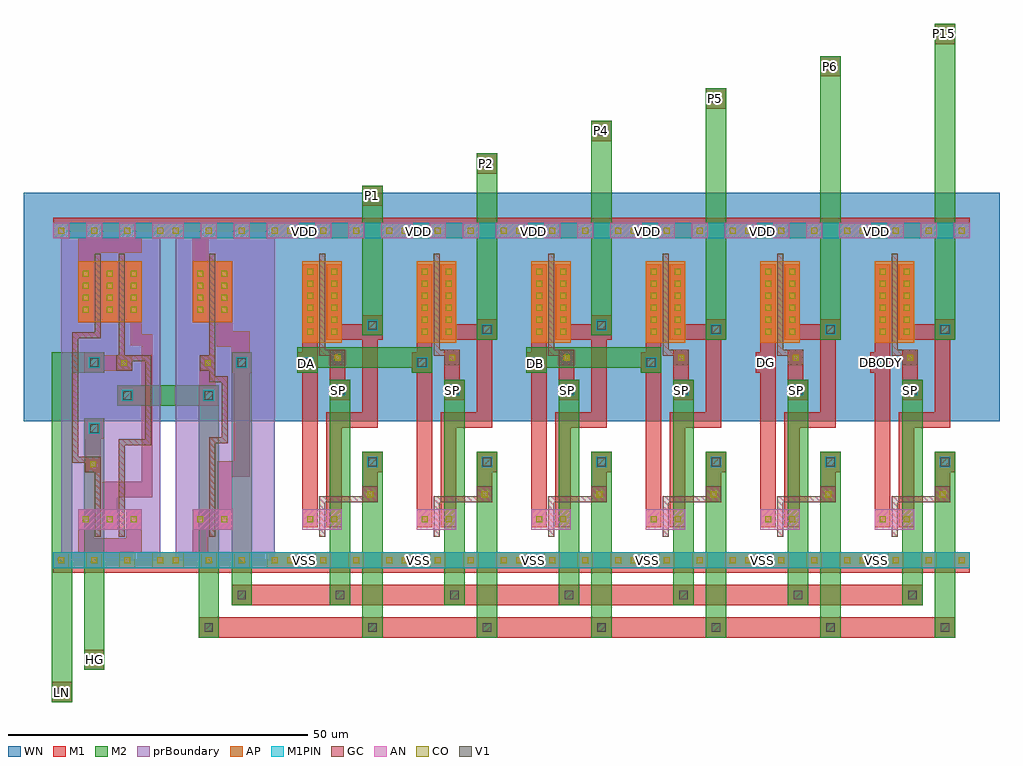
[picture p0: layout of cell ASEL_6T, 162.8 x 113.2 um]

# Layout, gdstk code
import gdstk
lib = gdstk.Library(unit=1e-6, precision=1e-07)
def R(c, l, rs):  # rectangles x0, y0, x1, y1
    for r in rs: c.add(gdstk.rectangle(r[:2], r[2:], *l))
def A(c, l, x, y, w, h, nx, ny, dx, dy):  # array of equal rectangles
    R(c, l, [(x+i*dx, y+j*dy, x+i*dx+w, y+j*dy+h) for i in range(nx) for j in range(ny)])
def P(c, l, *ps):  # polygons
    for p in ps: c.add(gdstk.Polygon(p, *l))
AP = (3, 1)
AN = (3, 2)
GC = (8, 1)
CO = (11, 0)
M1 = (13, 0)
V1 = (19, 0)
M2 = (20, 0)
M1PIN = (48, 1)
WN = (140, 0)
prBoundary = (235, 0)

asel_6t = lib.new_cell('ASEL_6T')
A(asel_6t, AP, -14.1, 10.8, 2.6, 2.6, 4, 1, 5.5, 0)
A(asel_6t, AP, 5, 10.8, 2.6, 2.6, 4, 1, 5.5, 0)
A(asel_6t, AP, 24.1, 10.8, 2.6, 2.6, 4, 1, 5.5, 0)
A(asel_6t, AP, 43.2, 10.8, 2.6, 2.6, 4, 1, 5.5, 0)
A(asel_6t, AP, 62.3, 10.8, 2.6, 2.6, 4, 1, 5.5, 0)
A(asel_6t, AP, 81.4, 10.8, 2.6, 2.6, 4, 1, 5.5, 0)
A(asel_6t, AP, 100.5, 10.8, 2.6, 2.6, 4, 1, 5.5, 0)
A(asel_6t, AP, 119.6, 10.8, 2.6, 2.6, 4, 1, 5.5, 0)
A(asel_6t, AP, 27.4, 48.4, 6.6, 13.6, 6, 1, 19.1, 0)
R(asel_6t, AP, [(-10,51.8,0.6,62), (-10,51.8,0.6,62), (9.1,51.8,15.7,62), (9.1,51.8,15.7,62)])
A(asel_6t, AN, 27.4, 17.2, 6.6, 3.4, 6, 1, 19.1, 0)
A(asel_6t, AN, -14.1, 65.8, 2.6, 2.6, 4, 1, 5.5, 0)
A(asel_6t, AN, 5, 65.8, 2.6, 2.6, 4, 1, 5.5, 0)
A(asel_6t, AN, 24.1, 65.8, 2.6, 2.6, 4, 1, 5.5, 0)
A(asel_6t, AN, 43.2, 65.8, 2.6, 2.6, 4, 1, 5.5, 0)
A(asel_6t, AN, 62.3, 65.8, 2.6, 2.6, 4, 1, 5.5, 0)
A(asel_6t, AN, 81.4, 65.8, 2.6, 2.6, 4, 1, 5.5, 0)
A(asel_6t, AN, 100.5, 65.8, 2.6, 2.6, 4, 1, 5.5, 0)
A(asel_6t, AN, 119.6, 65.8, 2.6, 2.6, 4, 1, 5.5, 0)
R(asel_6t, AN, [(-10,17.2,0.6,20.6), (9.1,17.2,15.7,20.6)])
A(asel_6t, GC, 30.2, 21.8, 7.2, 1, 6, 1, 19.1, 0)
A(asel_6t, GC, 37.4, 21.8, 2.6, 2.6, 6, 1, 19.1, 0)
A(asel_6t, GC, 32, 44.6, 2.6, 2.6, 6, 1, 19.1, 0)
A(asel_6t, GC, 30.2, 46.2, 1.8, 1, 6, 1, 19.1, 0)
P(asel_6t, GC, [(-7.2,16),(-7.2,26.8),(-8.8,26.8),(-8.8,28.4),(-11,28.4),(-11,50.1),(-7.2,50.1),(-7.2,63.2),(-6.2,63.2),(-6.2,49.1),(-10,49.1),(-10,29.4),(-6.2,29.4),(-6.2,16)],
  [(-3.2,16),(-3.2,32.3),(1.2,32.3),(1.2,45.3),(-1,45.3),(-1,43.7),(-3.6,43.7),(-3.6,46.3),(-3.2,46.3),(-3.2,63.2),(-2.2,63.2),(-2.2,46.3),(2.2,46.3),(2.2,31.3),(-2.2,31.3),(-2.2,16)],
  [(11.9,16),(11.9,32.6),(14,32.6),(14,41.8),(11.9,41.8),(11.9,43.7),(10.3,43.7),(10.3,46.3),(11.9,46.3),(11.9,63.2),(12.9,63.2),(12.9,42.8),(15,42.8),(15,31.6),(12.9,31.6),(12.9,16)])
A(asel_6t, CO, -13.3, 11.6, 1, 1, 4, 2, 5.5, 55)
A(asel_6t, CO, 5.8, 11.6, 1, 1, 4, 2, 5.5, 55)
A(asel_6t, CO, 24.9, 11.6, 1, 1, 4, 2, 5.5, 55)
A(asel_6t, CO, 44, 11.6, 1, 1, 4, 2, 5.5, 55)
A(asel_6t, CO, 63.1, 11.6, 1, 1, 4, 2, 5.5, 55)
A(asel_6t, CO, 82.2, 11.6, 1, 1, 4, 2, 5.5, 55)
A(asel_6t, CO, 101.3, 11.6, 1, 1, 4, 1, 5.5, 0)
A(asel_6t, CO, 120.4, 11.6, 1, 1, 4, 2, 5.5, 55)
A(asel_6t, CO, 38.2, 22.6, 1, 1, 6, 1, 19.1, 0)
A(asel_6t, CO, 32.8, 45.4, 1, 1, 6, 1, 19.1, 0)
A(asel_6t, CO, 28.2, 49.7, 1, 1, 1, 6, 0, 2)
A(asel_6t, CO, 32.2, 49.7, 1, 1, 1, 6, 0, 2)
A(asel_6t, CO, 47.3, 49.7, 1, 1, 1, 6, 0, 2)
A(asel_6t, CO, 51.3, 49.7, 1, 1, 1, 6, 0, 2)
A(asel_6t, CO, 66.4, 49.7, 1, 1, 1, 6, 0, 2)
A(asel_6t, CO, 70.4, 49.7, 1, 1, 1, 6, 0, 2)
A(asel_6t, CO, 85.5, 49.7, 1, 1, 1, 6, 0, 2)
A(asel_6t, CO, 89.5, 49.7, 1, 1, 1, 6, 0, 2)
A(asel_6t, CO, 104.6, 49.7, 1, 1, 1, 6, 0, 2)
A(asel_6t, CO, 108.6, 49.7, 1, 1, 1, 6, 0, 2)
A(asel_6t, CO, 123.7, 49.7, 1, 1, 1, 6, 0, 2)
A(asel_6t, CO, 127.7, 49.7, 1, 1, 1, 6, 0, 2)
A(asel_6t, CO, -1.2, 53.4, 1, 1, 1, 4, 0, 2)
A(asel_6t, CO, 9.9, 53.4, 1, 1, 1, 4, 0, 2)
A(asel_6t, CO, 13.9, 53.4, 1, 1, 1, 4, 0, 2)
A(asel_6t, CO, 101.3, 66.6, 1, 1, 3, 1, 5.5, 0)
R(asel_6t, CO, [(-9.2,18.4,-8.2,19.4), (-5.2,18.4,-4.2,19.4), (-5.2,18.4,-4.2,19.4), (-1.2,18.4,-0.2,19.4), (9.9,18.4,10.9,19.4), (13.9,18.4,14.9,19.4), (28.2,18.4,29.2,19.4), (32.2,18.4,33.2,19.4), (47.3,18.4,48.3,19.4), (51.3,18.4,52.3,19.4), (66.4,18.4,67.4,19.4), (70.4,18.4,71.4,19.4), (85.5,18.4,86.5,19.4), (89.5,18.4,90.5,19.4), (104.6,18.4,105.6,19.4), (108.6,18.4,109.6,19.4), (123.7,18.4,124.7,19.4), (127.7,18.4,128.7,19.4), (-8,27.6,-7,28.6), (-2.8,44.5,-1.8,45.5), (11.1,44.5,12.1,45.5), (-9.2,53.4,-8.2,54.4), (-9.2,53.4,-8.2,54.4), (-9.2,53.4,-8.2,54.4), (-5.2,53.4,-4.2,54.4), (-5.2,53.4,-4.2,54.4), (-5.2,53.4,-4.2,54.4), (-5.2,53.4,-4.2,54.4), (-9.2,55.4,-8.2,56.4), (-9.2,55.4,-8.2,56.4), (-9.2,55.4,-8.2,56.4), (-5.2,55.4,-4.2,56.4), (-5.2,55.4,-4.2,56.4), (-5.2,55.4,-4.2,56.4), (-5.2,55.4,-4.2,56.4), (-9.2,57.4,-8.2,58.4), (-9.2,57.4,-8.2,58.4), (-9.2,57.4,-8.2,58.4), (-5.2,57.4,-4.2,58.4), (-5.2,57.4,-4.2,58.4), (-5.2,57.4,-4.2,58.4), (-5.2,57.4,-4.2,58.4), (-9.2,59.4,-8.2,60.4), (-9.2,59.4,-8.2,60.4), (-9.2,59.4,-8.2,60.4), (-5.2,59.4,-4.2,60.4), (-5.2,59.4,-4.2,60.4), (-5.2,59.4,-4.2,60.4), (-5.2,59.4,-4.2,60.4), (112.3,66.6,113.3,67.6), (117.8,66.6,118.8,67.6), (117.8,66.6,118.8,67.6)])
A(asel_6t, M1, 37.4, -0.8, 3.4, 3.4, 6, 2, 19.1, 27.6)
A(asel_6t, M1, 40.8, -0.8, 15.7, 3.4, 5, 1, 19.1, 0)
A(asel_6t, M1, 32, 4.6, 3.4, 3.4, 6, 2, 19.1, 34.2)
A(asel_6t, M1, 35.4, 4.6, 15.7, 3.4, 5, 1, 19.1, 0)
A(asel_6t, M1, 24.1, 10.8, 19.1, 2.6, 6, 2, 19.1, 55)
A(asel_6t, M1, 27.4, 20.2, 2.6, 23.2, 6, 1, 19.1, 0)
A(asel_6t, M1, 31.4, 20.2, 2.6, 14, 6, 1, 19.1, 0)
A(asel_6t, M1, 37.4, 21.8, 2.6, 5, 6, 1, 19.1, 0)
A(asel_6t, M1, 31.4, 34.2, 6, 2.6, 6, 1, 19.1, 0)
A(asel_6t, M1, 37.4, 34.2, 2.6, 14.7, 6, 1, 19.1, 0)
A(asel_6t, M1, 32, 42.2, 2.6, 5, 6, 1, 19.1, 0)
A(asel_6t, M1, 26.6, 43.4, 3.4, 3.4, 6, 1, 19.1, 0)
A(asel_6t, M1, 27.4, 46.8, 2.6, 2.1, 6, 1, 19.1, 0)
A(asel_6t, M1, 34, 48.9, 3.4, 2.6, 6, 1, 19.1, 0)
R(asel_6t, M1, [(-14.4,-11.6,-11,-8.2), (-9,-6.2,-5.6,-2.8), (10.1,-0.8,13.5,2.6), (13.5,-0.8,37.4,2.6), (15.6,4.6,19,8), (19,4.6,32,8), (-14.1,10,138.7,10.8), (27.4,17.6,30,20.2), (31.4,17.6,34,20.2), (46.5,17.6,49.1,20.2), (50.5,17.6,53.1,20.2), (65.6,17.6,68.2,20.2), (69.6,17.6,72.2,20.2), (84.7,17.6,87.3,20.2), (88.7,17.6,91.3,20.2), (103.8,17.6,106.4,20.2), (107.8,17.6,110.4,20.2), (122.9,17.6,125.5,20.2), (126.9,17.6,129.5,20.2), (27.4,48.9,30,61.5), (31.4,48.9,34,61.5), (37.4,48.9,40.8,53), (46.5,48.9,49.1,61.5), (50.5,48.9,53.1,61.5), (56.5,48.9,59.9,52.3), (65.6,48.9,68.2,61.5), (69.6,48.9,72.2,61.5), (75.6,48.9,79,53), (84.7,48.9,87.3,61.5), (88.7,48.9,91.3,61.5), (94.7,48.9,98.1,52.3), (103.8,48.9,106.4,61.5), (107.8,48.9,110.4,61.5), (113.8,48.9,117.2,52.3), (113.8,48.9,117.2,52.3), (122.9,48.9,125.5,61.5), (126.9,48.9,129.5,61.5), (132.9,48.9,136.3,52.3), (-6,51.8,-3.4,62), (-14.1,68.4,138.7,69.2), (37.4,71.2,40.8,74.6), (56.5,76.6,59.9,80), (75.6,82,79,85.4), (94.7,87.4,98.1,90.8), (113.8,92.8,117.2,96.2), (132.9,98.2,136.3,101.6)])
P(asel_6t, M1, [(-14.1,10.8),(-14.1,13.4),(-10,13.4),(-10,20.6),(-7.4,20.6),(-7.4,15.8),(-2,15.8),(-2,20.6),(0.6,20.6),(0.6,13.4),(5,13.4),(5,10.8)],
  [(-8.8,26.8),(-8.8,32.4),(-9,32.4),(-9,35.8),(-5.6,35.8),(-5.6,32.4),(-6.2,32.4),(-6.2,26.8)],
  [(-9,43.4),(-9,46.8),(-5.6,46.8),(-5.6,46.3),(-1,46.3),(-1,43.7),(-5.6,43.7),(-5.6,43.4)],
  [(-6,17.2),(-6,25.2),(0.6,25.2),(0.6,37.9),(-3.5,37.9),(-3.5,41.3),(0.6,41.3),(0.6,48),(-1.2,48),(-1.2,51.8),(-2,51.8),(-2,62),(0.6,62),(0.6,49.8),(2.4,49.8),(2.4,22.6),(-3.4,22.6),(-3.4,17.2)],
  [(-10,51.8),(-10,65.8),(-14.1,65.8),(-14.1,68.4),(5,68.4),(5,65.8),(0.6,65.8),(0.6,63.4),(-7.4,63.4),(-7.4,51.8)],
  [(5,10.8),(5,13.4),(9.1,13.4),(9.1,20.6),(11.7,20.6),(11.7,13.4),(24.1,13.4),(24.1,10.8)],
  [(10.1,37.9),(10.1,41.3),(10.3,41.3),(10.3,46.3),(12.9,46.3),(12.9,41.3),(13.5,41.3),(13.5,37.9)],
  [(13.1,17.2),(13.1,28.6),(16,28.6),(16,43.4),(15.6,43.4),(15.6,47.7),(13.1,47.7),(13.1,62),(15.7,62),(15.7,50.3),(18.6,50.3),(18.6,46.8),(19,46.8),(19,43.4),(18.6,43.4),(18.6,26),(15.7,26),(15.7,17.2)],
  [(9.1,51.8),(9.1,65.8),(5,65.8),(5,68.4),(24.1,68.4),(24.1,65.8),(11.7,65.8),(11.7,51.8)])
A(asel_6t, V1, 38.4, 0.2, 1.4, 1.4, 6, 2, 19.1, 27.6)
A(asel_6t, V1, 33, 5.6, 1.4, 1.4, 6, 2, 19.1, 34.2)
A(asel_6t, V1, 27.6, 44.4, 1.4, 1.4, 4, 1, 19.1, 0)
A(asel_6t, V1, 95.7, 49.9, 1.4, 1.4, 3, 1, 19.1, 0)
R(asel_6t, V1, [(-13.4,-10.6,-12,-9.2), (-8,-5.2,-6.6,-3.8), (11.1,0.2,12.5,1.6), (16.6,5.6,18,7), (-8,33.4,-6.6,34.8), (-2.5,38.9,-1.1,40.3), (11.1,38.9,12.5,40.3), (-8,44.4,-6.6,45.8), (16.6,44.4,18,45.8), (57.5,49.9,58.9,51.3), (38.4,50.6,39.8,52), (76.6,50.6,78,52), (38.4,72.2,39.8,73.6), (57.5,77.6,58.9,79), (76.6,83,78,84.4), (95.7,88.4,97.1,89.8), (114.8,93.8,116.2,95.2), (133.9,99.2,135.3,100.6)])
A(asel_6t, M2, 37.4, -0.8, 3.4, 3.4, 6, 1, 19.1, 0)
A(asel_6t, M2, 37.4, 2.6, 3.4, 27.6, 6, 1, 19.1, 0)
A(asel_6t, M2, 32, 4.6, 3.4, 3.4, 6, 1, 19.1, 0)
A(asel_6t, M2, 32, 8, 3.4, 34.2, 6, 1, 19.1, 0)
A(asel_6t, M2, 26.6, 43.4, 3.4, 0.8, 4, 1, 19.1, 0)
R(asel_6t, M2, [(-14.4,-11.6,-11,-8.2), (-14.4,-8.2,-11,46.8), (-9,-6.2,-5.6,-2.8), (-9,-2.8,-5.6,35.8), (10.1,-0.8,13.5,2.6), (10.1,2.6,13.5,41.3), (15.6,4.6,19,8), (15.6,8,19,46.8), (-3.5,37.9,10.1,41.3), (-11,43.4,-5.6,46.8), (26.6,44.2,49.1,47.6), (64.8,44.2,87.3,47.6), (56.5,48.9,59.9,76.6), (94.7,48.9,98.1,87.4), (113.8,48.9,117.2,92.8), (132.9,48.9,136.3,98.2), (37.4,49.6,40.8,71.2), (75.6,49.6,79,82), (37.4,71.2,40.8,74.6), (56.5,76.6,59.9,80), (75.6,82,79,85.4), (94.7,87.4,98.1,90.8), (113.8,92.8,117.2,96.2), (132.9,98.2,136.3,101.6)])
A(asel_6t, M1PIN, -14.1, 10.8, 19.1, 2.6, 8, 2, 19.1, 55)
A(asel_6t, M1PIN, 38.2, 27.6, 1.8, 1.8, 6, 1, 19.1, 0)
A(asel_6t, M1PIN, 32.8, 39.6, 1.8, 1.8, 6, 1, 19.1, 0)
A(asel_6t, M1PIN, 27.4, 44.2, 1.8, 1.8, 6, 1, 19.1, 0)
R(asel_6t, M1PIN, [(-8.2,33.2,-6.4,35), (-2.7,38.7,-0.9,40.5), (10.9,38.7,12.7,40.5), (-8.2,44.2,-6.4,46), (16.4,44.2,18.2,46), (57.3,49.7,59.1,51.5), (95.5,49.7,97.3,51.5), (114.6,49.7,116.4,51.5), (114.6,49.7,116.4,51.5), (133.7,49.7,135.5,51.5), (133.7,49.7,135.5,51.5), (133.7,49.7,135.5,51.5), (38.2,50.4,40,52.2), (76.4,50.4,78.2,52.2)])
A(asel_6t, WN, -19.1, 35.3, 29.1, 38.1, 8, 1, 19.1, 0)
R(asel_6t, prBoundary, [(-12.8,12.1,3.7,67.1), (6.3,12.1,22.8,67.1)])
asel_6t.add(gdstk.FlexPath([(107.1,16),(107.1,21.8)], 1, ends="flush", simple_path=True, layer=8, datatype=1))  # GC
asel_6t.add(gdstk.FlexPath([(107.1,47.2),(107.1,63.2)], 1, ends="flush", simple_path=True, layer=8, datatype=1))  # GC
asel_6t.add(gdstk.FlexPath([(126.2,16),(126.2,21.8)], 1, ends="flush", simple_path=True, layer=8, datatype=1))  # GC
asel_6t.add(gdstk.FlexPath([(126.2,47.2),(126.2,63.2)], 1, ends="flush", simple_path=True, layer=8, datatype=1))  # GC
asel_6t.add(gdstk.FlexPath([(30.7,16),(30.7,21.8)], 1, ends="flush", simple_path=True, layer=8, datatype=1))  # GC
asel_6t.add(gdstk.FlexPath([(30.7,47.2),(30.7,63.2)], 1, ends="flush", simple_path=True, layer=8, datatype=1))  # GC
asel_6t.add(gdstk.FlexPath([(49.8,16),(49.8,21.8)], 1, ends="flush", simple_path=True, layer=8, datatype=1))  # GC
asel_6t.add(gdstk.FlexPath([(49.8,47.2),(49.8,63.2)], 1, ends="flush", simple_path=True, layer=8, datatype=1))  # GC
asel_6t.add(gdstk.FlexPath([(68.9,16),(68.9,21.8)], 1, ends="flush", simple_path=True, layer=8, datatype=1))  # GC
asel_6t.add(gdstk.FlexPath([(68.9,47.2),(68.9,63.2)], 1, ends="flush", simple_path=True, layer=8, datatype=1))  # GC
asel_6t.add(gdstk.FlexPath([(88,16),(88,21.8)], 1, ends="flush", simple_path=True, layer=8, datatype=1))  # GC
asel_6t.add(gdstk.FlexPath([(88,47.2),(88,63.2)], 1, ends="flush", simple_path=True, layer=8, datatype=1))  # GC
asel_6t.add(gdstk.Label('P6', (115.5,94.5), layer=48, texttype=0))
asel_6t.add(gdstk.Label('P15', (134.6,99.9), layer=48, texttype=0))
asel_6t.add(gdstk.Label('P1', (39.1,72.9), layer=48, texttype=0))
asel_6t.add(gdstk.Label('P2', (58.2,78.3), layer=48, texttype=0))
asel_6t.add(gdstk.Label('P4', (77.3,83.7), layer=48, texttype=0))
asel_6t.add(gdstk.Label('P5', (96.4,89.1), layer=48, texttype=0))
asel_6t.add(gdstk.Label('HG', (-7.3,-4.5), layer=48, texttype=0))
asel_6t.add(gdstk.Label('LN', (-12.7,-9.9), layer=48, texttype=0))
asel_6t.add(gdstk.Label('DA', (28.1,45), layer=48, texttype=0))
asel_6t.add(gdstk.Label('DG', (104.7,45.1), layer=48, texttype=0))
asel_6t.add(gdstk.Label('SP', (109.8,40.4), layer=48, texttype=0))
asel_6t.add(gdstk.Label('DB', (66.3,45), layer=48, texttype=0))
asel_6t.add(gdstk.Label('VSS', (104.1,12), layer=48, texttype=0))
asel_6t.add(gdstk.Label('VDD', (104.1,67), layer=48, texttype=0))
asel_6t.add(gdstk.Label('DBODY', (123.8,45.1), layer=48, texttype=0))
asel_6t.add(gdstk.Label('SP', (128.9,40.4), layer=48, texttype=0))
asel_6t.add(gdstk.Label('VSS', (123.2,12), layer=48, texttype=0))
asel_6t.add(gdstk.Label('VDD', (123.2,67), layer=48, texttype=0))
asel_6t.add(gdstk.Label('SP', (33.4,40.4), layer=48, texttype=0))
asel_6t.add(gdstk.Label('VSS', (27.7,12), layer=48, texttype=0))
asel_6t.add(gdstk.Label('VDD', (27.7,67), layer=48, texttype=0))
asel_6t.add(gdstk.Label('SP', (52.5,40.4), layer=48, texttype=0))
asel_6t.add(gdstk.Label('VSS', (46.8,12), layer=48, texttype=0))
asel_6t.add(gdstk.Label('VDD', (46.8,67), layer=48, texttype=0))
asel_6t.add(gdstk.Label('SP', (71.6,40.4), layer=48, texttype=0))
asel_6t.add(gdstk.Label('VSS', (65.9,12), layer=48, texttype=0))
asel_6t.add(gdstk.Label('VDD', (65.9,67), layer=48, texttype=0))
asel_6t.add(gdstk.Label('SP', (90.7,40.4), layer=48, texttype=0))
asel_6t.add(gdstk.Label('VSS', (85,12), layer=48, texttype=0))
asel_6t.add(gdstk.Label('VDD', (85,67), layer=48, texttype=0))

lib.write_gds('ASEL_6T.gds')
